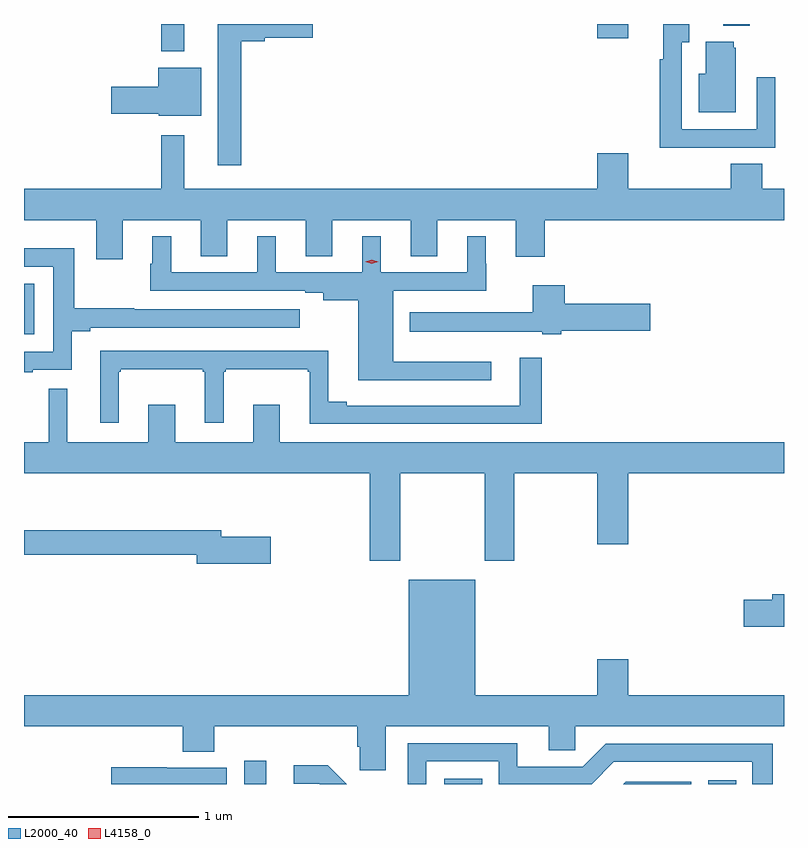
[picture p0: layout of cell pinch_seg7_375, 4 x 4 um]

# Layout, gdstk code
import gdstk
lib = gdstk.Library(unit=1e-6, precision=1e-09)
def R(c, l, rs):  # rectangles x0, y0, x1, y1
    for r in rs: c.add(gdstk.rectangle(r[:2], r[2:], *l))
def P(c, l, *ps):  # polygons
    for p in ps: c.add(gdstk.Polygon(p, *l))
L2000_40 = (2000, 40)
L4158_0 = (4158, 0)

pinch_seg7_375 = lib.new_cell('pinch_seg7_375')
R(pinch_seg7_375, L2000_40, [(486.828,1016.296,486.943,1016.419), (487.881,1016.296,488.079,1016.323), (489.27,1016.296,489.416,1016.317), (485.668,1018.664,485.722,1018.93), (486.39,1020.152,486.511,1020.296), (488.684,1020.222,488.848,1020.296), (489.347,1020.287,489.487,1020.296)])
P(pinch_seg7_375, L2000_40, [(486.811,1020.206),(486.936,1020.206),(486.936,1020.224),(487.189,1020.224),(487.189,1020.296),(486.689,1020.296),(486.689,1019.553),(486.811,1019.553)],
  [(489.305,1019.646),(489.621,1019.646),(489.621,1020.016),(489.525,1020.016),(489.525,1019.742),(489.129,1019.742),(489.129,1020.199),(489.169,1020.199),(489.169,1020.296),(489.032,1020.296),(489.032,1020.11),(489.013,1020.11),(489.013,1019.645),(489.305,1019.645)],
  [(489.415,1020.171),(489.404,1020.171),(489.404,1020.202),(489.257,1020.202),(489.257,1020.034),(489.218,1020.034),(489.218,1019.831),(489.415,1019.831)],
  [(486.601,1020.067),(486.374,1020.067),(486.374,1019.966),(486.126,1019.966),(486.126,1019.824),(486.378,1019.824),(486.378,1019.813),(486.601,1019.813)],
  [(486.187,1019.264),(486.599,1019.264),(486.599,1019.074),(486.739,1019.074),(486.739,1019.264),(487.151,1019.264),(487.151,1019.074),(487.291,1019.074),(487.291,1019.264),(487.703,1019.264),(487.703,1019.074),(487.843,1019.074),(487.843,1019.264),(488.255,1019.264),(488.255,1019.07),(488.408,1019.07),(488.408,1019.264),(489.668,1019.264),(489.668,1019.428),(489.554,1019.428),(489.554,1019.561),(489.389,1019.561),(489.389,1019.428),(488.848,1019.428),(488.848,1019.617),(488.684,1019.617),(488.684,1019.428),(486.511,1019.428),(486.511,1019.71),(486.39,1019.71),(486.39,1019.428),(485.668,1019.428),(485.668,1019.264),(486.047,1019.264),(486.047,1019.058),(486.187,1019.058)],
  [(488.128,1018.519),(487.612,1018.519),(487.612,1018.893),(488.1,1018.893),(488.1,1019.033),(488.098,1019.033),(488.098,1019.179),(488,1019.179),(488,1018.989),(487.546,1018.989),(487.546,1019.179),(487.448,1019.179),(487.448,1018.989),(486.994,1018.989),(486.994,1019.179),(486.896,1019.179),(486.896,1018.989),(486.442,1018.989),(486.442,1019.179),(486.344,1019.179),(486.344,1019.033),(486.333,1019.033),(486.333,1018.893),(487.148,1018.893),(487.148,1018.881),(487.244,1018.881),(487.244,1018.841),(487.427,1018.841),(487.427,1018.421),(488.128,1018.421)],
  [(485.713,1018.476),(485.92,1018.476),(485.92,1018.678),(486.016,1018.678),(486.016,1018.698),(487.12,1018.698),(487.12,1018.794),(486.248,1018.794),(486.248,1018.799),(485.932,1018.799),(485.932,1019.116),(485.668,1019.116),(485.668,1019.019),(485.823,1019.019),(485.823,1018.572),(485.668,1018.572),(485.668,1018.464),(485.713,1018.464)],
  [(488.496,1018.682),(488.965,1018.682),(488.965,1018.824),(488.513,1018.824),(488.513,1018.921),(488.345,1018.921),(488.345,1018.78),(487.697,1018.78),(487.697,1018.676),(488.396,1018.676),(488.396,1018.664),(488.496,1018.664)],
  [(488.393,1018.54),(488.276,1018.54),(488.276,1018.288),(487.366,1018.288),(487.366,1018.307),(487.27,1018.307),(487.27,1018.575),(486.068,1018.575),(486.068,1018.197),(486.166,1018.197),(486.166,1018.467),(486.178,1018.467),(486.178,1018.478),(486.609,1018.478),(486.609,1018.467),(486.62,1018.467),(486.62,1018.197),(486.718,1018.197),(486.718,1018.467),(486.73,1018.467),(486.73,1018.478),(487.161,1018.478),(487.161,1018.467),(487.172,1018.467),(487.172,1018.191),(488.393,1018.191)],
  [(487.647,1017.932),(488.092,1017.932),(488.092,1017.471),(488.247,1017.471),(488.247,1017.932),(488.684,1017.932),(488.684,1017.558),(488.848,1017.558),(488.848,1017.932),(489.668,1017.932),(489.668,1018.096),(487.015,1018.096),(487.015,1018.291),(486.875,1018.291),(486.875,1018.096),(486.463,1018.096),(486.463,1018.291),(486.323,1018.291),(486.323,1018.096),(485.896,1018.096),(485.896,1018.375),(485.798,1018.375),(485.798,1018.096),(485.668,1018.096),(485.668,1017.932),(487.487,1017.932),(487.487,1017.471),(487.647,1017.471)],
  [(486.967,1017.597),(486.706,1017.597),(486.706,1017.631),(485.668,1017.631),(485.668,1017.502),(486.578,1017.502),(486.578,1017.455),(486.967,1017.455)],
  [(487.573,1016.6),(488.429,1016.6),(488.429,1016.473),(488.568,1016.473),(488.568,1016.6),(489.668,1016.6),(489.668,1016.764),(488.848,1016.764),(488.848,1016.953),(488.684,1016.953),(488.684,1016.764),(488.044,1016.764),(488.044,1017.37),(487.694,1017.37),(487.694,1016.764),(485.668,1016.764),(485.668,1016.6),(486.503,1016.6),(486.503,1016.467),(486.668,1016.467),(486.668,1016.6),(487.421,1016.6),(487.421,1016.491),(487.434,1016.491),(487.434,1016.368),(487.573,1016.368)],
  [(489.668,1017.296),(489.605,1017.296),(489.605,1017.266),(489.456,1017.266),(489.456,1017.124),(489.668,1017.124)],
  [(487.785,1016.415),(488.166,1016.415),(488.166,1016.296),(488.656,1016.296),(488.772,1016.412),(489.501,1016.412),(489.501,1016.296),(489.61,1016.296),(489.61,1016.508),(488.73,1016.508),(488.61,1016.388),(488.263,1016.388),(488.263,1016.511),(487.689,1016.511),(487.689,1016.296),(487.785,1016.296)],
  [(487.267,1016.396),(487.089,1016.396),(487.089,1016.298),(487.223,1016.298),(487.225,1016.296),(487.367,1016.296)],
  [(486.735,1016.382),(486.419,1016.382),(486.419,1016.384),(486.127,1016.384),(486.127,1016.296),(486.735,1016.296)],
  [(489.18,1016.307),(488.834,1016.307),(488.823,1016.296),(489.18,1016.296)])
P(pinch_seg7_375, L4158_0, [(487.497,1019.035),(487.463,1019.045),(487.462,1019.045),(487.463,1019.045),(487.497,1019.055),(487.532,1019.045),(487.532,1019.045),(487.532,1019.045)])

lib.write_gds('pinch_seg7_375.gds')
